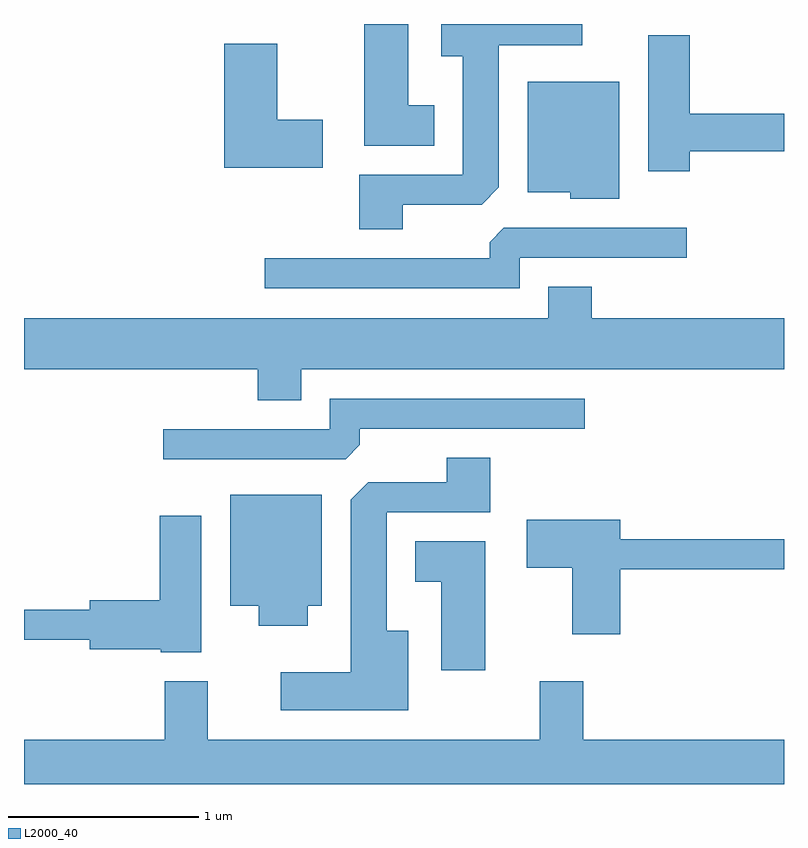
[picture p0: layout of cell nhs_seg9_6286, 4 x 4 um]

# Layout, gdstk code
import gdstk
lib = gdstk.Library(unit=1e-6, precision=1e-09)
def P(c, l, *ps):  # polygons
    for p in ps: c.add(gdstk.Polygon(p, *l))
L2000_40 = (2000, 40)

nhs_seg9_6286 = lib.new_cell('nhs_seg9_6286')
P(nhs_seg9_6286, L2000_40, [(371.604,2081.481),(372.019,2081.481),(372.109,2081.572),(372.109,2082.321),(372.549,2082.321),(372.549,2082.432),(371.806,2082.432),(371.806,2082.261),(371.921,2082.261),(371.921,2081.639),(371.376,2081.639),(371.376,2081.351),(371.604,2081.351)],
  [(371.769,2082.004),(371.634,2082.004),(371.634,2082.432),(371.401,2082.432),(371.401,2081.791),(371.769,2081.791)],
  [(373.114,2081.761),(373.611,2081.761),(373.611,2081.959),(373.114,2081.959),(373.114,2082.374),(372.896,2082.374),(372.896,2081.656),(373.114,2081.656)],
  [(371.184,2081.929),(370.944,2081.929),(370.944,2082.329),(370.666,2082.329),(370.666,2081.676),(371.184,2081.676)],
  [(372.744,2082.129),(372.261,2082.129),(372.261,2081.546),(372.486,2081.546),(372.486,2081.511),(372.744,2081.511)],
  [(372.219,2081.201),(373.098,2081.201),(373.098,2081.359),(372.137,2081.359),(372.061,2081.284),(372.061,2081.199),(370.878,2081.199),(370.878,2081.041),(372.219,2081.041)],
  [(371.069,2080.616),(373.611,2080.616),(373.611,2080.884),(372.599,2080.884),(372.599,2081.049),(372.371,2081.049),(372.371,2080.884),(369.611,2080.884),(369.611,2080.616),(370.841,2080.616),(370.841,2080.451),(371.069,2080.451)],
  [(371.379,2080.217),(371.379,2080.301),(372.563,2080.301),(372.563,2080.459),(371.221,2080.459),(371.221,2080.299),(370.343,2080.299),(370.343,2080.141),(371.304,2080.141)],
  [(371.634,2079.239),(371.519,2079.239),(371.519,2079.861),(372.064,2079.861),(372.064,2080.149),(371.836,2080.149),(371.836,2080.019),(371.422,2080.019),(371.331,2079.929),(371.331,2079.019),(370.961,2079.019),(370.961,2078.821),(371.634,2078.821)],
  [(371.104,2079.371),(371.179,2079.371),(371.179,2079.954),(370.696,2079.954),(370.696,2079.371),(370.846,2079.371),(370.846,2079.266),(371.104,2079.266)],
  [(370.544,2079.844),(370.326,2079.844),(370.326,2079.399),(369.956,2079.399),(369.956,2079.349),(369.611,2079.349),(369.611,2079.191),(369.956,2079.191),(369.956,2079.141),(370.33,2079.141),(370.33,2079.126),(370.544,2079.126)],
  [(372.749,2079.561),(373.611,2079.561),(373.611,2079.719),(372.749,2079.719),(372.749,2079.824),(372.256,2079.824),(372.256,2079.571),(372.496,2079.571),(372.496,2079.221),(372.749,2079.221)],
  [(372.039,2079.709),(371.671,2079.709),(371.671,2079.496),(371.806,2079.496),(371.806,2079.031),(372.039,2079.031)],
  [(370.579,2078.974),(370.351,2078.974),(370.351,2078.664),(369.611,2078.664),(369.611,2078.432),(373.611,2078.432),(373.611,2078.664),(372.554,2078.664),(372.554,2078.974),(372.326,2078.974),(372.326,2078.664),(370.579,2078.664)])

lib.write_gds('nhs_seg9_6286.gds')
